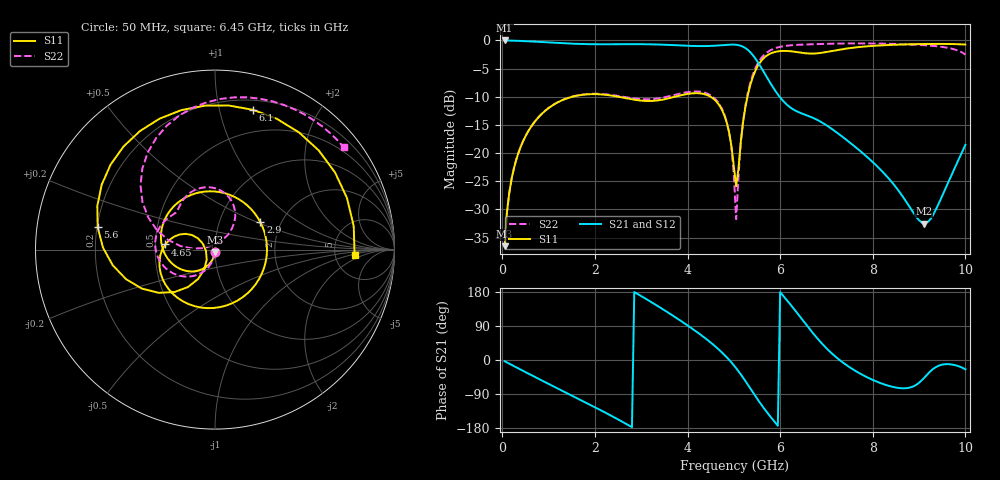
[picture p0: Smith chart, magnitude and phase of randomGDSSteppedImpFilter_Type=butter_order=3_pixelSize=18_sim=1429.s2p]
! freq	dB(S11)	phase(S11)	dB(S12)	phase(S12)
!  dB(S21)	phase(S21)	dB(S22)	phase(S22)
!S-par simulation data
#  GHz  S  DB  R 50
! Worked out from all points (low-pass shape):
!   200 points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, 50 MHz to 10 GHz, reference 50 ohm
!   highest |S21| = -0.01 dB at 50 MHz (marker M1); lowest = -32.5 dB at 9.1 GHz (marker M2)
!   |S21| within 3 dB of the highest: start of sweep to 5.447 GHz
!   lowest |S11| = -36.5 dB at 50 MHz (marker M3), VSWR 1.03, Z = 49.9 - j1.49 ohm
!   |S11| at or under -10 dB: start of sweep to 1.511 GHz; 2.507 GHz to 3.727 GHz (1.22 GHz wide, 39.1 % of centre); 4.499 GHz to 5.293 GHz (793.8 MHz wide, 16.2 % of centre)
!   |S22| runs from -36.5 to -0.5 dB; largest |S21 - S12| = 0
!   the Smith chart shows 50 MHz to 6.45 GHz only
!   S11 on the Smith chart (normalised r, x): 50 MHz: 1.00, -0.03; 2.9 GHz: 1.57, +0.53; 4.65 GHz: 0.57, +0.04; 5.6 GHz: 0.20, +0.09; 6.1 GHz: 0.28, +1.27; 6.45 GHz: 7.83, -1.23
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0.05  -36.52 -92.8  -0.01 -3.3  -0.01 -3.3  -36.51 -92.0
0.2  -24.63 -104.4  -0.04 -12.9  -0.04 -12.9  -24.62 -101.4
0.5  -17.03 -126.1  -0.13 -31.9  -0.13 -31.9  -17.00 -118.5
1.75  -9.63 142.6  -0.65 -109.0  -0.65 -109.0  -9.58 178.4
2.9  -10.59 31.2  -0.67 175.8  -0.67 175.8  -10.35 140.1
3.4  -10.60 -33.6  -0.74 139.1  -0.74 139.1  -10.26 131.2
4.05  -9.44 -115.5  -0.97 87.1  -0.97 87.1  -9.12 109.5
4.65  -11.10 174.1  -0.91 30.4  -0.91 30.4  -10.87 71.1
4.9  -16.39 147.7  -0.75 0.2  -0.75 0.2  -16.46 51.1
5.05  -25.88 -171.8  -0.78 -21.6  -0.78 -21.6  -31.72 103.9
5.25  -11.80 -125.8  -1.36 -55.6  -1.36 -55.6  -11.50 168.4
5.6  -3.54 169.2  -4.95 -119.1  -4.95 -119.1  -3.06 117.7
5.9  -2.02 113.0  -9.00 -166.1  -9.00 -166.1  -1.36 82.8
6.1  -1.86 74.7  -11.05 164.5  -11.05 164.5  -0.99 64.6
6.45  -2.18 -2.3  -12.91 111.0  -12.91 111.0  -0.76 38.6
6.7  -2.34 -64.2  -13.71 72.2  -13.71 72.2  -0.68 22.9
6.95  -2.13 -121.5  -14.80 37.2  -14.80 37.2  -0.62 8.5
7.3  -1.61 177.4  -16.82 -1.6  -16.82 -1.6  -0.55 -10.3
7.8  -1.10 118.6  -20.13 -40.7  -20.13 -40.7  -0.54 -34.9
8.35  -0.81 73.1  -24.56 -68.4  -24.56 -68.4  -0.60 -59.8
9.1  -0.64 26.8  -32.50 -48.4  -32.50 -48.4  -0.84 -93.0
10  -0.73 -15.6  -18.53 -24.5  -18.53 -24.5  -2.52 -150.3
